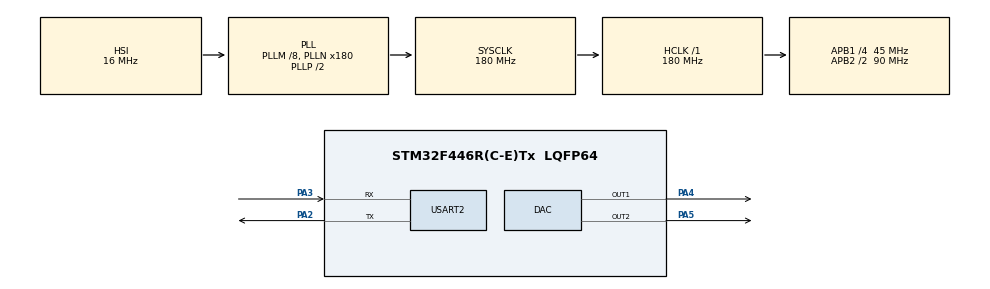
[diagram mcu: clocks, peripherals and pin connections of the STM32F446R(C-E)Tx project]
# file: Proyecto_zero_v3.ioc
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Mcu.Family=STM32F4
Mcu.Name=STM32F446R(C-E)Tx
Mcu.Package=LQFP64
NVIC.PriorityGroup=NVIC_PRIORITYGROUP_4
NVIC.TIM2_IRQn=true\:0\:0\:false\:false\:true\:true\:true\:true
PA2.Mode=Asynchronous
PA2.Signal=USART2_TX
PA3.Mode=Asynchronous
PA3.Signal=USART2_RX
PA4.Signal=COMP_DAC1_group
PA5.Signal=COMP_DAC2_group
ProjectManager.HeapSize=0x200
ProjectManager.StackSize=0x400
ProjectManager.TargetToolchain=STM32CubeIDE
RCC.AHBFreq_Value=180000000
RCC.APB1CLKDivider=RCC_HCLK_DIV4
RCC.APB1Freq_Value=45000000
RCC.APB1TimFreq_Value=90000000
RCC.APB2CLKDivider=RCC_HCLK_DIV2
RCC.APB2Freq_Value=90000000
RCC.APB2TimFreq_Value=180000000
RCC.CortexFreq_Value=180000000
RCC.HCLKFreq_Value=180000000
RCC.PLLM=8
RCC.PLLN=180
RCC.SYSCLKFreq_VALUE=180000000
RCC.SYSCLKSource=RCC_SYSCLKSOURCE_PLLCLK
RCC.USBFreq_Value=180000000
RCC.VCOOutputFreq_Value=360000000
SH.COMP_DAC1_group.0=DAC_OUT1,DAC_OUT1
SH.COMP_DAC2_group.0=DAC_OUT2,DAC_OUT2
TIM2.Period=1874
USART2.VirtualMode=VM_ASYNC
VP_TIM2_VS_ClockSourceINT.Mode=Internal
board=custom

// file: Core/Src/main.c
/* USER CODE BEGIN Header */
/**
  ******************************************************************************
  * @file           : main.c
  * @brief          : Main program body
  ******************************************************************************
  * @attention
  *
  * Copyright (c) 2026 STMicroelectronics.
  * All rights reserved.
  *
  * This software is licensed under terms that can be found in the LICENSE file
  * in the root directory of this software component.
  * If no LICENSE file comes with this software, it is provided AS-IS.
  *
  ******************************************************************************
  */
/* USER CODE END Header */
#include "main.h"

/* USER CODE BEGIN Includes */
#include "sine_table.h"
/* USER CODE END Includes */

/* USER CODE BEGIN PD */
#define AMP_STEP 248   // ≈ 0.2 V  (0.2 / 3.3 * 4096)
/* USER CODE END PD */

DAC_HandleTypeDef hdac;

TIM_HandleTypeDef htim2;

UART_HandleTypeDef huart2;

/* USER CODE BEGIN PV */
uint32_t acc[2] = {0, 0};               // acumulador de fase por canal
volatile uint32_t ftw[2] = {0, 0};      // paso (frequency tuning word) por canal
volatile uint8_t salida_on[2] = {1, 1}; // on/off por canal
volatile uint8_t canal = 0;             // canal activo: 0 = canal 1, 1 = canal 2
volatile int32_t amp[2] = {2048, 2048};   // amplitud pico por canal, en cuentas (2048 = máx = 1.65 V)
/* USER CODE END PV */

void SystemClock_Config(void);
static void MX_GPIO_Init(void);
static void MX_DAC_Init(void);
static void MX_TIM2_Init(void);
static void MX_USART2_UART_Init(void);

int main(void)
{

  /* MCU Configuration--------------------------------------------------------*/

  /* Reset of all peripherals, Initializes the Flash interface and the Systick. */
  HAL_Init();

  /* Configure the system clock */
  SystemClock_Config();

  /* Initialize all configured peripherals */
  MX_GPIO_Init();
  MX_DAC_Init();
  MX_TIM2_Init();
  MX_USART2_UART_Init();
  /* USER CODE BEGIN 2 */
  ftw[0] = (uint32_t)(500.0 * 4294967296.0 / 48000.0);  // canal 1 arranca en 500 Hz
  ftw[1] = 0;                                           // canal 2 arranca mudo (plano en 2048)
  HAL_DAC_Start(&hdac, DAC_CHANNEL_1);
  HAL_DAC_Start(&hdac, DAC_CHANNEL_2);
  HAL_TIM_Base_Start_IT(&htim2);
  /* USER CODE END 2 */

  /* Infinite loop */
  while (1)
  {

    /* USER CODE BEGIN 3 */
	  static uint32_t numero = 0;
	     uint8_t c;
	     HAL_UART_Receive(&huart2, &c, 1, HAL_MAX_DELAY);  // espera un carácter de la terminal
	     HAL_UART_Transmit(&huart2, &c, 1, HAL_MAX_DELAY); // eco: lo devuelve para verlo

	     if (c >= '0' && c <= '9')
	         numero = numero * 10 + (c - '0');             // arma el número dígito a dígito
	     else if (c == '\r' || c == '\n') {
	         ftw[canal] = (uint32_t)((double)numero * 4294967296.0 / 48000.0);
	         numero = 0;
	     }
	     else if (c == ' ') {                              // ESPACIO = toggle de canal
	         canal ^= 1;                                   // da vuelta el bit: 0<->1
	         if (canal == 0)
	             HAL_UART_Transmit(&huart2, (uint8_t*)"Canal 1\r\n", 9, HAL_MAX_DELAY);
	         else
	             HAL_UART_Transmit(&huart2, (uint8_t*)"Canal 2\r\n", 9, HAL_MAX_DELAY);
	     }
	     else if (c == 'p') salida_on[canal] = 1;          // play del canal activo
	     else if (c == 's') salida_on[canal] = 0;          // stop del canal activo
	     else if (c == '+') { amp[canal] += AMP_STEP; if (amp[canal] > 2048) amp[canal] = 2048; }
	     else if (c == '-') { amp[canal] -= AMP_STEP; if (amp[canal] < 0)    amp[canal] = 0;    }
	   }
  }
  /* USER CODE END 3 */

void SystemClock_Config(void)
{
  RCC_OscInitTypeDef RCC_OscInitStruct = {0};
  RCC_ClkInitTypeDef RCC_ClkInitStruct = {0};

  /** Configure the main internal regulator output voltage
  */
  __HAL_RCC_PWR_CLK_ENABLE();
  __HAL_PWR_VOLTAGESCALING_CONFIG(PWR_REGULATOR_VOLTAGE_SCALE1);

  /** Initializes the RCC Oscillators according to the specified parameters
  * in the RCC_OscInitTypeDef structure.
  */
  RCC_OscInitStruct.OscillatorType = RCC_OSCILLATORTYPE_HSI;
  RCC_OscInitStruct.HSIState = RCC_HSI_ON;
  RCC_OscInitStruct.HSICalibrationValue = RCC_HSICALIBRATION_DEFAULT;
  RCC_OscInitStruct.PLL.PLLState = RCC_PLL_ON;
  RCC_OscInitStruct.PLL.PLLSource = RCC_PLLSOURCE_HSI;
  RCC_OscInitStruct.PLL.PLLM = 8;
  RCC_OscInitStruct.PLL.PLLN = 180;
  RCC_OscInitStruct.PLL.PLLP = RCC_PLLP_DIV2;
  RCC_OscInitStruct.PLL.PLLQ = 2;
  RCC_OscInitStruct.PLL.PLLR = 2;
  if (HAL_RCC_OscConfig(&RCC_OscInitStruct) != HAL_OK)
  {
    Error_Handler();
  }

  /** Activate the Over-Drive mode
  */
  if (HAL_PWREx_EnableOverDrive() != HAL_OK)
  {
    Error_Handler();
  }

  /** Initializes the CPU, AHB and APB buses clocks
  */
  RCC_ClkInitStruct.ClockType = RCC_CLOCKTYPE_HCLK|RCC_CLOCKTYPE_SYSCLK
                              |RCC_CLOCKTYPE_PCLK1|RCC_CLOCKTYPE_PCLK2;
  RCC_ClkInitStruct.SYSCLKSource = RCC_SYSCLKSOURCE_PLLCLK;
  RCC_ClkInitStruct.AHBCLKDivider = RCC_SYSCLK_DIV1;
  RCC_ClkInitStruct.APB1CLKDivider = RCC_HCLK_DIV4;
  RCC_ClkInitStruct.APB2CLKDivider = RCC_HCLK_DIV2;

  if (HAL_RCC_ClockConfig(&RCC_ClkInitStruct, FLASH_LATENCY_5) != HAL_OK)
  {
    Error_Handler();
  }
}

static void MX_DAC_Init(void)
{

  DAC_ChannelConfTypeDef sConfig = {0};

  /** DAC Initialization
  */
  hdac.Instance = DAC;
  if (HAL_DAC_Init(&hdac) != HAL_OK)
  {
    Error_Handler();
  }

  /** DAC channel OUT1 config
  */
  sConfig.DAC_Trigger = DAC_TRIGGER_NONE;
  sConfig.DAC_OutputBuffer = DAC_OUTPUTBUFFER_ENABLE;
  if (HAL_DAC_ConfigChannel(&hdac, &sConfig, DAC_CHANNEL_1) != HAL_OK)
  {
    Error_Handler();
  }

  /** DAC channel OUT2 config
  */
  if (HAL_DAC_ConfigChannel(&hdac, &sConfig, DAC_CHANNEL_2) != HAL_OK)
  {
    Error_Handler();
  }

}

static void MX_TIM2_Init(void)
{

  TIM_ClockConfigTypeDef sClockSourceConfig = {0};
  TIM_MasterConfigTypeDef sMasterConfig = {0};

  htim2.Instance = TIM2;
  htim2.Init.Prescaler = 0;
  htim2.Init.CounterMode = TIM_COUNTERMODE_UP;
  htim2.Init.Period = 1874;
  htim2.Init.ClockDivision = TIM_CLOCKDIVISION_DIV1;
  htim2.Init.AutoReloadPreload = TIM_AUTORELOAD_PRELOAD_DISABLE;
  if (HAL_TIM_Base_Init(&htim2) != HAL_OK)
  {
    Error_Handler();
  }
  sClockSourceConfig.ClockSource = TIM_CLOCKSOURCE_INTERNAL;
  if (HAL_TIM_ConfigClockSource(&htim2, &sClockSourceConfig) != HAL_OK)
  {
    Error_Handler();
  }
  sMasterConfig.MasterOutputTrigger = TIM_TRGO_RESET;
  sMasterConfig.MasterSlaveMode = TIM_MASTERSLAVEMODE_DISABLE;
  if (HAL_TIMEx_MasterConfigSynchronization(&htim2, &sMasterConfig) != HAL_OK)
  {
    Error_Handler();
  }

}

static void MX_USART2_UART_Init(void)
{

  huart2.Instance = USART2;
  huart2.Init.BaudRate = 115200;
  huart2.Init.WordLength = UART_WORDLENGTH_8B;
  huart2.Init.StopBits = UART_STOPBITS_1;
  huart2.Init.Parity = UART_PARITY_NONE;
  huart2.Init.Mode = UART_MODE_TX_RX;
  huart2.Init.HwFlowCtl = UART_HWCONTROL_NONE;
  huart2.Init.OverSampling = UART_OVERSAMPLING_16;
  if (HAL_UART_Init(&huart2) != HAL_OK)
  {
    Error_Handler();
  }

}

static void MX_GPIO_Init(void)
{

  /* GPIO Ports Clock Enable */
  __HAL_RCC_GPIOA_CLK_ENABLE();

}

/* USER CODE BEGIN 4 */
void HAL_TIM_PeriodElapsedCallback(TIM_HandleTypeDef *htim)
{
    if (htim->Instance == TIM2)
    {
        acc[0] += ftw[0];
        acc[1] += ftw[1];

        int32_t c0 = (int32_t)sine_table[acc[0] >> 19] - 2048;   // muestra centrada en 0
        int32_t c1 = (int32_t)sine_table[acc[1] >> 19] - 2048;

        uint16_t v0 = salida_on[0] ? (uint16_t)(2048 + (c0 * amp[0]) / 2048) : 2048;
        uint16_t v1 = salida_on[1] ? (uint16_t)(2048 + (c1 * amp[1]) / 2048) : 2048;

        HAL_DAC_SetValue(&hdac, DAC_CHANNEL_1, DAC_ALIGN_12B_R, v0);
        HAL_DAC_SetValue(&hdac, DAC_CHANNEL_2, DAC_ALIGN_12B_R, v1);
    }
}
/* USER CODE END 4 */

void Error_Handler(void)
{
  __disable_irq();
  while (1)
  {
  }
}
